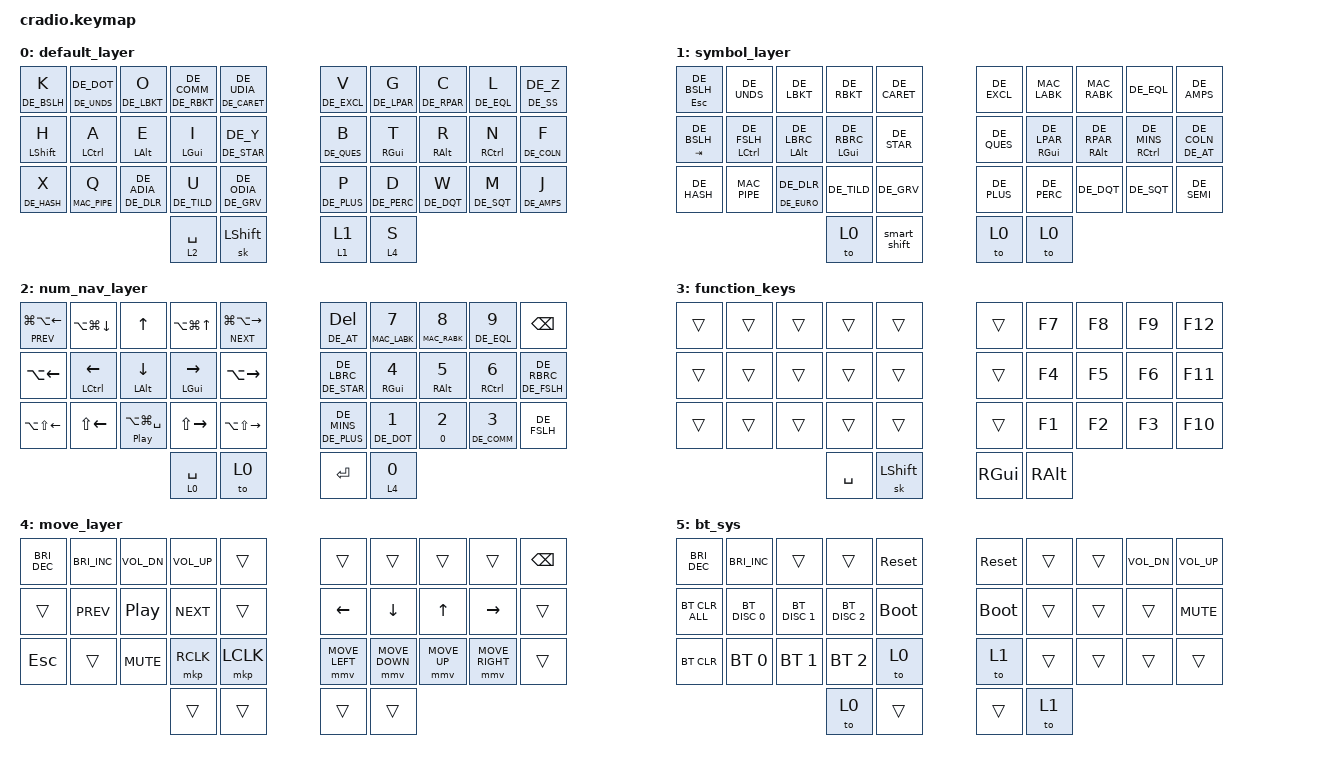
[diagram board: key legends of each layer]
/*
 * Copyright (c) 2020 The ZMK Contributors
 *
 * SPDX-License-Identifier: MIT
 */

#include "keymap_german.h"
#include <behaviors.dtsi>
#include <dt-bindings/zmk/mouse.h>
#include <dt-bindings/zmk/pointing.h>
#include <dt-bindings/zmk/bt.h>
#include <dt-bindings/zmk/keys.h>

&mt {
    flavor = "tap-preferred";
    tapping_term_ms = <200>;
};

/ {
    combos {
        compatible = "zmk,combos";

        		combo_esc {
                timeout-ms = <50>;
                    key-positions = <22 23>;
                    bindings = <&kp ESC>;
                    require-prior-idle-ms = <180>;
                };

                combo_up {
                timeout-ms = <50>;
                    key-positions = <7 8>;
                    bindings = <&kp UP>;
                    require-prior-idle-ms = <180>;
                };

                page_up {
                timeout-ms = <50>;
                    key-positions = <6 7 8>;
                    bindings = <&kp PAGE_UP>;
                    require-prior-idle-ms = <180>;
                };

                combo_down {
                timeout-ms = <50>;
                    key-positions = <27 28>;
                    bindings = <&kp DOWN>;
                    require-prior-idle-ms = <180>;
                };

                page_down {
                timeout-ms = <75>;
                    key-positions = <26 27 28>;
                    bindings = <&kp PAGE_DOWN>;
                    require-prior-idle-ms = <180>;
                };


                combo_left {
                timeout-ms = <50>;
                 key-positions = <16 17>;
                 bindings = <&kp LEFT>;
                 require-prior-idle-ms = <180>;

             };

                combo_right {
                timeout-ms = <50>;
                 key-positions = <17 18>;
                 bindings = <&kp RIGHT>;
                 require-prior-idle-ms = <180>;

             };

                combo_enter {
                timeout-ms = <50>;
                 	key-positions = <26 27>;
                    bindings = <&kp RET>;
                    require-prior-idle-ms = <180>;
                };

                combo_bt_sys {
                timeout-ms = <50>;
                    key-positions = <31 32>;
                    bindings = <&mo 5>;
                    require-prior-idle-ms = <180>;

                };

                combo_fn_layer {
                timeout-ms = <50>;
                 key-positions = <3 4>;
                 bindings = <&mo 4>;
                 require-prior-idle-ms = <180>;
                };

                combo_gaming {
                timeout-ms = <50>;
                    require-prior-idle-ms = <250>;
                    key-positions = <24 25>;
                    bindings = <&tog 3>;
                    layers = <0 1 2 3>;
                };

                combo_default {
                timeout-ms = <50>;
                    require-prior-idle-ms = <250>;
                    key-positions = <4 5>;
                    bindings = <&to 0>;
                };

                combo_num_nav {
                timeout-ms = <50>;
                    require-prior-idle-ms = <250>;
                    key-positions = <14 15>;
                    bindings = <&to 2>;
					layers = <0 1 3>;
                };

                combo_backspace {
	                	timeout-ms = <50>;
                    key-positions = <8 9>;
                    bindings = <&kp BACKSPACE>;
                    require-prior-idle-ms = <180>;
                };

                combo_backspace_hr {
	                	timeout-ms = <50>;
                    key-positions = <18 19>;
                    bindings = <&kp BACKSPACE>;
                    require-prior-idle-ms = <180>;
                };

        		combo_backspc_left {
	                	timeout-ms = <50>;
                    key-positions = <21 22>;
                    bindings = <&kp BACKSPACE>;
                    require-prior-idle-ms = <180>;
                };

                combo_tab {
            				timeout-ms = <40>;
                    key-positions = <11 12>;
                    bindings = <&kp TAB>;
                    require-prior-idle-ms = <200>;
                };

                combo_shift_tab {
            				timeout-ms = <40>;
                    key-positions = <10 11>;
                    bindings = <&kp LS(TAB)>;
                    require-prior-idle-ms = <200>;
                };

                combo_copy {
	                	timeout-ms = <50>;
                    key-positions = <11 2>;
                    bindings = <&kp LG(C)>;
                    require-prior-idle-ms = <200>;
                };

                combo_cut {
	                	timeout-ms = <50>;
                    key-positions = <10 2>;
                    bindings = <&kp LG(X)>;
                    require-prior-idle-ms = <200>;
                };

                combo_paste {
                	timeout-ms = <50>;
                    key-positions = <13 2>;
                    bindings = <&kp LG(V)>;
                    require-prior-idle-ms = <200>;
                };

                combo_undo {
                	timeout-ms = <50>;
                    key-positions = <1 2>;
                    bindings = <&kp LG(DE_Z)>;
                    require-prior-idle-ms = <200>;
                };

                combo_redo {
	                	timeout-ms = <50>;
                    key-positions = <2 3>;
                    bindings = <&kp LG(LS(DE_Z))>;
                    require-prior-idle-ms = <200>;

                };

                combo_del {
	                	timeout-ms = <50>;
                    key-positions = <28 29>;
                    bindings = <&kp DEL>;
                    require-prior-idle-ms = <180>;
                };

};

    behaviors {
        hm: homerow_mods {
            compatible = "zmk,behavior-hold-tap";
            label = "HOMEROW_MODS";
            #binding-cells = <2>;
            tapping-term-ms = <200>;
            quick_tap_ms = <200>;
            require-prior-idle-ms = <180>;
            flavor = "tap-preferred";
            bindings = <&kp>, <&kp>;
        };

        hs: homerow_shifts {
            compatible = "zmk,behavior-hold-tap";
            label = "HOMEROW_SHIFTS";
            #binding-cells = <2>;
            tapping-term-ms = <150>;
            require-prior-idle-ms = <125>;
            quick_tap_ms = <0>;
            flavor = "balanced";
            bindings = <&kp>, <&kp>;
        };


        hthl: homerow_tap_hold_layer {
            compatible = "zmk,behavior-hold-tap";
            label = "HOMEROW_TAP_HOLD_LAYER";
            #binding-cells = <2>;
            tapping-term-ms = <150>;
            quick-tap-ms = <0>;
            flavor = "tap-preferred";
            bindings = <&to>, <&to>;
        };

        td: tapdance {
            compatible = "zmk,behavior-hold-tap";
            label = "TAPDANCE";
            #binding-cells = <2>;
            tapping-term-ms = <170>;
            require-prior-idle-ms = <160>;
            quick_tap_ms = <200>;
            flavor = "tap-preferred";
            bindings = <&kp>, <&kp>;
        };

        blt: layertap {
            compatible = "zmk,behavior-hold-tap";
            label = "LAYERTAP";
            #binding-cells = <2>;
            tapping-term-ms = <150>;
            quick_tap_ms = <0>;
            flavor = "tap-preferred";
            bindings = <&to>, <&kp>;
        };

        mlt: mom_layertap {
            compatible = "zmk,behavior-hold-tap";
            label = "MOMENT_LAYER_TAP";
            #binding-cells = <2>;
            tapping-term-ms = <180>;
            require-prior-idle-ms = <125>;
            flavor = "balanced";
            bindings = <&mo>, <&kp>;
        };

        mo_to: behavior_mo_to {
            compatible = "zmk,behavior-hold-tap";
            #binding-cells = <2>;
            flavor = "hold-preferred";
            tapping-term-ms = <150>;
            bindings = <&mo>, <&sl>;
        };

        sk: sticky_key {
            release-after-ms = <500>;  // release after 0.5s
            quick-release;             // no double capitalization when rolling keys
        };

        mt_caps_word_sticky_shift: mt {
	       compatible = "zmk,behavior-hold-tap";
	       label = "MT_CAPS_WORD_STICKY_SHIFT";
	       #binding-cells = <2>;
	       tapping-term-ms = <200>;
	       flavor = "tap-preferred";
	       bindings = <&caps_word>, <&sk>;
   		};

		 smart_shift: smart_shift {
	            compatible = "zmk,behavior-mod-morph";
           		#binding-cells = <0>;
			    bindings = <&sk LSHFT>, <&caps_word>;
			    mods = <(MOD_LSFT)>;
		};
    };

    keymap {
        compatible = "zmk,keymap";

        default_layer {
            bindings = <
&td DE_BSLH K    		&td DE_UNDS DE_DOT     	&td DE_LBKT O        		&td DE_RBKT DE_COMM    		&td DE_CARET DE_UDIA   					&td DE_EXCL V 		&td DE_LPAR G  				&td DE_RPAR C    	&td DE_EQL L           	&td DE_SS DE_Z
&hm LEFT_SHIFT H			&hm LEFT_CONTROL A  &hm LALT E   				&hm LGUI I  					&td DE_STAR DE_Y     			&td DE_QUES B 	 	&hm RGUI T	  				&hm RALT R  	  	&hm RIGHT_CONTROL N  	&td DE_COLN F
&td DE_HASH X  	&td MAC_PIPE Q  &td DE_DLR  DE_ADIA   		&td DE_TILD U  	 				&td DE_GRV DE_ODIA  				&td DE_PLUS P 		&td DE_PERC D       		&td DE_DQT W       	&td DE_SQT M            &td DE_AMPS J
															&mlt 2 SPACE    		&sk LEFT_SHIFT		&mo_to 1 1 					&mlt 4 S
              >;
          };

        symbol_layer {
            bindings = <
&td ESCAPE DE_BSLH  &kp DE_UNDS          		&kp DE_LBKT       &kp DE_RBKT       &kp DE_CARET         &kp DE_EXCL      &kp MAC_LABK      &kp MAC_RABK      &kp DE_EQL        &kp DE_AMPS
&td TAB DE_BSLH   &hm LEFT_CONTROL DE_FSLH	&hm LALT DE_LBRC  &hm LGUI DE_RBRC  &kp DE_STAR  		 &kp DE_QUES  	  &hm RGUI DE_LPAR  &hm RALT DE_RPAR  &hm RIGHT_CONTROL DE_MINS  &hm DE_AT DE_COLN
&kp DE_HASH  	&kp MAC_PIPE   	&hm DE_EURO DE_DLR    &kp DE_TILD       &kp DE_GRV      	 &kp DE_PLUS 	  &kp DE_PERC       &kp DE_DQT        &kp DE_SQT        &kp DE_SEMI
                                 	&to 0       &smart_shift    	 &to 0      	 &to 0
            >;
        };

        num_nav_layer {
            bindings = <
&td C_PREV LG(LA(LEFT))  	&kp LA(LG(DOWN)) 		&kp UP					&kp LA(LG(UP))     		&td C_NEXT LG(LA(RIGHT)) 	   	&td DE_AT DEL  			&td MAC_LABK N7     &td MAC_RABK N8  &td DE_EQL N9     		 &kp BACKSPACE
&kp LA(LEFT)  				&hm LEFT_CONTROL LEFT 	&hm LALT DOWN      		&hm LGUI RIGHT     		&kp LA(RIGHT)     				&td DE_STAR DE_LBRC 	&hm RGUI N4  		&hm RALT N5  	&hm RIGHT_CONTROL N6     &td DE_FSLH DE_RBRC
&kp LA(LS(LEFT))   			&kp LS(LEFT)    		&hm C_PP LA(LG(SPACE)) 	&kp LS(RIGHT) 	   		&kp LA(LS(RIGHT))        	 	&td DE_PLUS DE_MINS		&td DE_DOT N1  		&td N0 N2   	&td DE_COMM N3  		 &kp DE_FSLH
												 							&lt 0 SPACE 		&to 0  					&kp RET  		 			&mlt 4 N0
            >;
        };


function_keys {
    bindings = <
         &trans  		&trans       &trans  	    &trans      &trans         	&trans  	 &kp F7       &kp F8        &kp F9      &kp F12
         &trans 		&trans       &trans     	&trans   	&trans        	&trans       &kp F4    	  &kp F5        &kp F6 	&kp F11
         &trans 		&trans 	     &trans     	&trans   	&trans    	 	&trans       &kp F1       &kp F2        &kp F3      &kp F10
                                             &kp SPACE  &sk LEFT_SHIFT  &kp RIGHT_GUI  &kp RIGHT_ALT
    >;
};

move_layer {
    bindings = <
         &kp C_BRIGHTNESS_DEC   &kp C_BRIGHTNESS_INC  &kp C_VOL_DN  &kp C_VOL_UP  &trans         	&trans  	 &trans       &trans          &trans    &kp BACKSPACE
         &trans 		&kp C_PREV       &kp C_PLAY_PAUSE     	&kp C_NEXT   	&trans        	&kp LEFT     &kp DOWN  &kp UP    &kp RIGHT 	&trans
         &kp ESCAPE 		&trans 	   &kp C_MUTE    &mkp RCLK  &mkp LCLK      	 	  &mmv MOVE_LEFT    &mmv MOVE_DOWN  &mmv MOVE_UP  &mmv MOVE_RIGHT    &trans
                                             &trans  &trans  &trans  &trans
    >;
};

        bt_sys {
            bindings = <
&kp C_BRIGHTNESS_DEC   &kp C_BRIGHTNESS_INC   	&trans 		&trans			&sys_reset      &sys_reset   &trans  &trans  &kp C_VOL_DN  &kp C_VOL_UP
&bt BT_CLR_ALL		&bt BT_DISC 0 		&bt BT_DISC 1   &bt BT_DISC 2  		&bootloader     &bootloader  &trans  &trans  &trans  &kp C_MUTE
&bt BT_CLR      	&bt BT_SEL 0     	&bt BT_SEL 1	&bt BT_SEL 2  			&to 0        &to 1   &trans  &trans  &trans  &trans
                                    									 &to 0   &trans       &trans  &to 1
            >;
        };
    };
};
